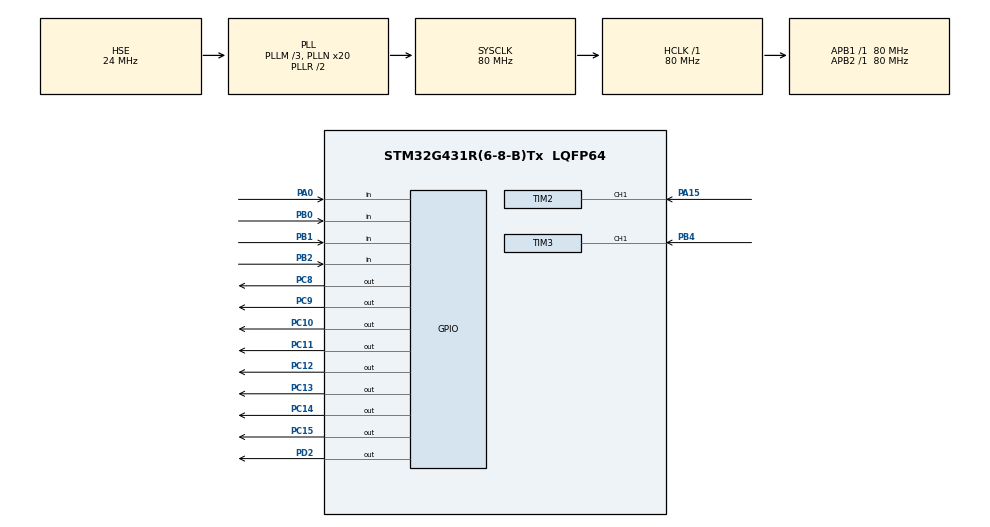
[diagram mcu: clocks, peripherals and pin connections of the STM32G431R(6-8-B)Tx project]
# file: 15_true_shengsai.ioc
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Mcu.Family=STM32G4
Mcu.Name=STM32G431R(6-8-B)Tx
Mcu.Package=LQFP64
NVIC.PriorityGroup=NVIC_PRIORITYGROUP_4
NVIC.TIM2_IRQn=true\:0\:0\:false\:false\:true\:true\:true\:true
NVIC.TIM3_IRQn=true\:0\:0\:false\:false\:true\:true\:true\:true
NVIC.TIM4_IRQn=true\:0\:0\:false\:false\:true\:true\:true\:true
PA0.Signal=GPIO_Input
PA13.Mode=Serial_Wire
PA13.Signal=SYS_JTMS-SWDIO
PA14.Mode=Serial_Wire
PA14.Signal=SYS_JTCK-SWCLK
PA15.Signal=S_TIM2_CH1
PB0.Signal=GPIO_Input
PB1.Signal=GPIO_Input
PB2.Signal=GPIO_Input
PB4.Signal=S_TIM3_CH1
PC10.PinState=GPIO_PIN_SET
PC10.Signal=GPIO_Output
PC11.PinState=GPIO_PIN_SET
PC11.Signal=GPIO_Output
PC12.PinState=GPIO_PIN_SET
PC12.Signal=GPIO_Output
PC13.PinState=GPIO_PIN_SET
PC13.Signal=GPIO_Output
PC14-OSC32_IN.PinState=GPIO_PIN_SET
PC14-OSC32_IN.Signal=GPIO_Output
PC15-OSC32_OUT.PinState=GPIO_PIN_SET
PC15-OSC32_OUT.Signal=GPIO_Output
PC8.PinState=GPIO_PIN_SET
PC8.Signal=GPIO_Output
PC9.PinState=GPIO_PIN_SET
PC9.Signal=GPIO_Output
PD2.Signal=GPIO_Output
PF0-OSC_IN.Mode=HSE-External-Oscillator
PF0-OSC_IN.Signal=RCC_OSC_IN
PF1-OSC_OUT.Mode=HSE-External-Oscillator
PF1-OSC_OUT.Signal=RCC_OSC_OUT
ProjectManager.HeapSize=0x200
ProjectManager.StackSize=0x400
ProjectManager.TargetToolchain=MDK-ARM V5.32
RCC.ADC12Freq_Value=80000000
RCC.AHBFreq_Value=80000000
RCC.APB1Freq_Value=80000000
RCC.APB1TimFreq_Value=80000000
RCC.APB2Freq_Value=80000000
RCC.APB2TimFreq_Value=80000000
RCC.CortexFreq_Value=80000000
RCC.EXTERNAL_CLOCK_VALUE=12288000
RCC.HCLKFreq_Value=80000000
RCC.HSE_VALUE=24000000
RCC.HSI48_VALUE=48000000
RCC.HSI_VALUE=16000000
RCC.LSE_VALUE=32768
RCC.PLLM=RCC_PLLM_DIV3
RCC.PLLN=20
RCC.PLLSourceVirtual=RCC_PLLSOURCE_HSE
RCC.SYSCLKFreq_VALUE=80000000
RCC.SYSCLKSource=RCC_SYSCLKSOURCE_PLLCLK
RCC.USBFreq_Value=80000000
RCC.VCOOutputFreq_Value=160000000
SH.S_TIM2_CH1.0=TIM2_CH1,Input_Capture1_from_TI1
SH.S_TIM3_CH1.0=TIM3_CH1,Input_Capture1_from_TI1
TIM2.Channel-Input_Capture1_from_TI1=TIM_CHANNEL_1
TIM2.Prescaler=10 - 1
TIM3.Channel-Input_Capture1_from_TI1=TIM_CHANNEL_1
TIM3.Prescaler=10 - 1
TIM4.PeriodNoDither=10000 - 1
TIM4.Prescaler=80 - 1
VP_SYS_VS_DBSignals.Mode=DisableDeadBatterySignals
VP_TIM2_VS_ClockSourceINT.Mode=Internal
VP_TIM3_VS_ClockSourceINT.Mode=Internal
VP_TIM4_VS_ClockSourceINT.Mode=Internal
board=custom

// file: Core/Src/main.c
/* USER CODE BEGIN Header */
/**
  ******************************************************************************
  * @file           : main.c
  * @brief          : Main program body
  ******************************************************************************
  * @attention
  *
  * Copyright (c) 2025 STMicroelectronics.
  * All rights reserved.
  *
  * This software is licensed under terms that can be found in the LICENSE file
  * in the root directory of this software component.
  * If no LICENSE file comes with this software, it is provided AS-IS.
  *
  ******************************************************************************
  */
/* USER CODE END Header */
#include "main.h"
#include "tim.h"
#include "gpio.h"

/* USER CODE BEGIN Includes */
extern void led_init(void);
extern void led_task(void);
extern void key_init(void);
extern void key_task(void);
extern void pwm_init(void);
extern void pwm_task(void);
extern void lcd_init(void);
extern void lcd_task(void);

bool led_flag, pwm_flag, lcd_flag;
/* USER CODE END Includes */

void SystemClock_Config(void);

int main(void)
{

  /* MCU Configuration--------------------------------------------------------*/

  /* Reset of all peripherals, Initializes the Flash interface and the Systick. */
  HAL_Init();

  /* Configure the system clock */
  SystemClock_Config();

  /* Initialize all configured peripherals */
  MX_GPIO_Init();
  MX_TIM2_Init();
  MX_TIM3_Init();
  MX_TIM4_Init();
  /* USER CODE BEGIN 2 */
	key_init();
	pwm_init();
	lcd_init();
	led_init();
  /* USER CODE END 2 */

  /* Infinite loop */
  /* USER CODE BEGIN WHILE */
  while (1)
  {
	  if(led_flag)
	  {
		  led_flag = 0;
		  led_task();
	  }

	  if(pwm_flag)
	  {
		  pwm_flag = 0;
		  pwm_task();
	  }

	  if(lcd_flag)
	  {
		  lcd_flag = 0;
		  lcd_task();
	  }

	  key_task();
    /* USER CODE END WHILE */

  }
}

void SystemClock_Config(void)
{
  RCC_OscInitTypeDef RCC_OscInitStruct = {0};
  RCC_ClkInitTypeDef RCC_ClkInitStruct = {0};

  /** Configure the main internal regulator output voltage
  */
  HAL_PWREx_ControlVoltageScaling(PWR_REGULATOR_VOLTAGE_SCALE1);

  /** Initializes the RCC Oscillators according to the specified parameters
  * in the RCC_OscInitTypeDef structure.
  */
  RCC_OscInitStruct.OscillatorType = RCC_OSCILLATORTYPE_HSE;
  RCC_OscInitStruct.HSEState = RCC_HSE_ON;
  RCC_OscInitStruct.PLL.PLLState = RCC_PLL_ON;
  RCC_OscInitStruct.PLL.PLLSource = RCC_PLLSOURCE_HSE;
  RCC_OscInitStruct.PLL.PLLM = RCC_PLLM_DIV3;
  RCC_OscInitStruct.PLL.PLLN = 20;
  RCC_OscInitStruct.PLL.PLLP = RCC_PLLP_DIV2;
  RCC_OscInitStruct.PLL.PLLQ = RCC_PLLQ_DIV2;
  RCC_OscInitStruct.PLL.PLLR = RCC_PLLR_DIV2;
  if (HAL_RCC_OscConfig(&RCC_OscInitStruct) != HAL_OK)
  {
    Error_Handler();
  }

  /** Initializes the CPU, AHB and APB buses clocks
  */
  RCC_ClkInitStruct.ClockType = RCC_CLOCKTYPE_HCLK|RCC_CLOCKTYPE_SYSCLK
                              |RCC_CLOCKTYPE_PCLK1|RCC_CLOCKTYPE_PCLK2;
  RCC_ClkInitStruct.SYSCLKSource = RCC_SYSCLKSOURCE_PLLCLK;
  RCC_ClkInitStruct.AHBCLKDivider = RCC_SYSCLK_DIV1;
  RCC_ClkInitStruct.APB1CLKDivider = RCC_HCLK_DIV1;
  RCC_ClkInitStruct.APB2CLKDivider = RCC_HCLK_DIV1;

  if (HAL_RCC_ClockConfig(&RCC_ClkInitStruct, FLASH_LATENCY_2) != HAL_OK)
  {
    Error_Handler();
  }
}

void Error_Handler(void)
{
  __disable_irq();
  while (1)
  {
  }
}
